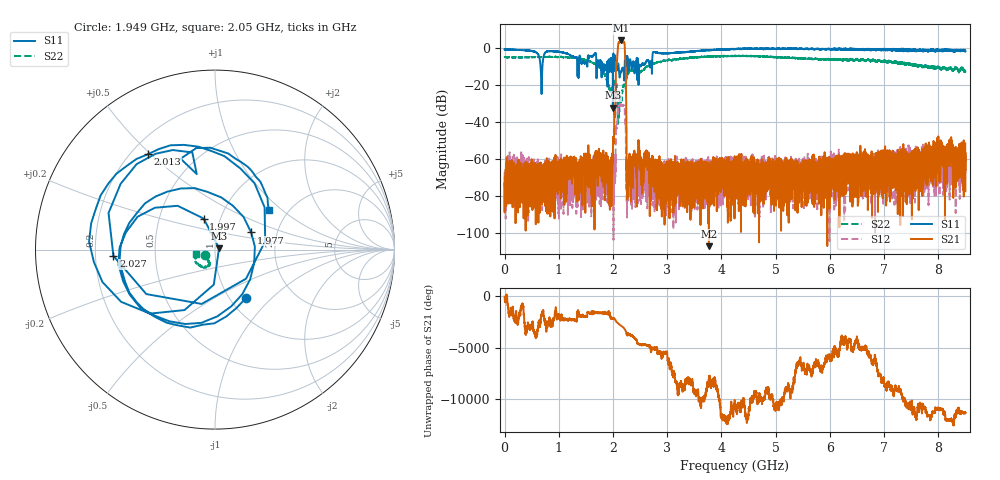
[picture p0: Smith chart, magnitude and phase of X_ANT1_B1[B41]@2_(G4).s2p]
#  HZ  S  RI  R  50.00
! Rohde & Schwarz Vector Network Analyzer
! Rohde-Schwarz,ZNBT8-20Port,1318700624101681,3.50
! Created: UTC 7/15/2025, 2:10:30 PM
! freq[Hz]  re:S1010  im:S1010  re:S0510  im:S0510  re:S1005  im:S1005  re:S55  im:S55
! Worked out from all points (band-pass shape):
!   8500 points, 1 MHz to 8.5 GHz, reference 50 ohm
!   highest |S21| = 3.96 dB at 2.146 GHz (marker M1); lowest = -107.0 dB at 3.769 GHz (marker M2)
!   |S21| within 3 dB of the highest: 2.093 GHz to 2.216 GHz (122.7 MHz wide, 5.69 % of centre)
!   lowest |S11| = -32.3 dB at 1.998 GHz (marker M3), VSWR 1.05, Z = 52.3 + j0.871 ohm
!   |S11| at or under -10 dB: 663.8 MHz to 698.6 MHz (34.81 MHz wide, 5.11 % of centre); 2.06 GHz to 2.086 GHz (26.39 MHz wide, 1.27 % of centre); 2.105 GHz to 2.214 GHz (109.5 MHz wide, 5.07 % of centre)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
!   |S22| runs from -41.3 to -4.2 dB; largest |S21 - S12| = 1.6
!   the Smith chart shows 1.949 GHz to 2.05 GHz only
!   S11 on the Smith chart (normalised r, x): 1.949 GHz: 1.18, -0.71; 1.977 GHz: 1.47, +0.29; 1.997 GHz: 0.83, +0.30; 2.013 GHz: 0.27, +0.49; 2.027 GHz: 0.28, -0.03; 2.05 GHz: 1.59, +0.83
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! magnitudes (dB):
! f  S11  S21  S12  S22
! 1 MHz  -0.9  -72.9  -67.0  -5.2
! 1.418 GHz  -8.5  -75.4  -62.8  -6.0
! 1.949 GHz  -9.9  -60.6  -84.3  -23.7
! 1.977 GHz  -13.0  -60.2  -75.7  -22.1
! 1.997 GHz  -14.7  -62.5  -69.6  -20.7
! 1.998 GHz  -32.3  -56.5  -72.2  -20.6
! 2.013 GHz  -3.8  -51.4  -83.0  -19.4
! 2.027 GHz  -4.9  -33.6  -71.8  -18.1
! 2.05 GHz  -8.6  -19.6  -53.2  -19.2
! 2.093 GHz  -8.5  0.9  -33.4  -36.7
! 2.146 GHz  -12.8  4.0  -30.3  -28.3
! 2.205 GHz  -16.7  2.9  -31.4  -20.2
! 2.293 GHz  -10.3  -65.7  -69.2  -13.1
! 2.488 GHz  -9.2  -56.8  -68.7  -13.6
! 2.834 GHz  -2.8  -64.4  -63.0  -7.7
! 3.769 GHz  -1.4  -107.0  -72.7  -4.8
! 4.251 GHz  -0.6  -60.4  -70.8  -4.4
! 5.667 GHz  -0.4  -65.9  -66.9  -6.0
! 7.084 GHz  -1.1  -61.2  -62.4  -7.1
! 8.218 GHz  -1.3  -57.0  -65.2  -11.0
! 8.455 GHz  -1.4  -60.0  -58.1  -11.7
! 8.5 GHz  -1.9  -77.3  -70.1  -12.3
